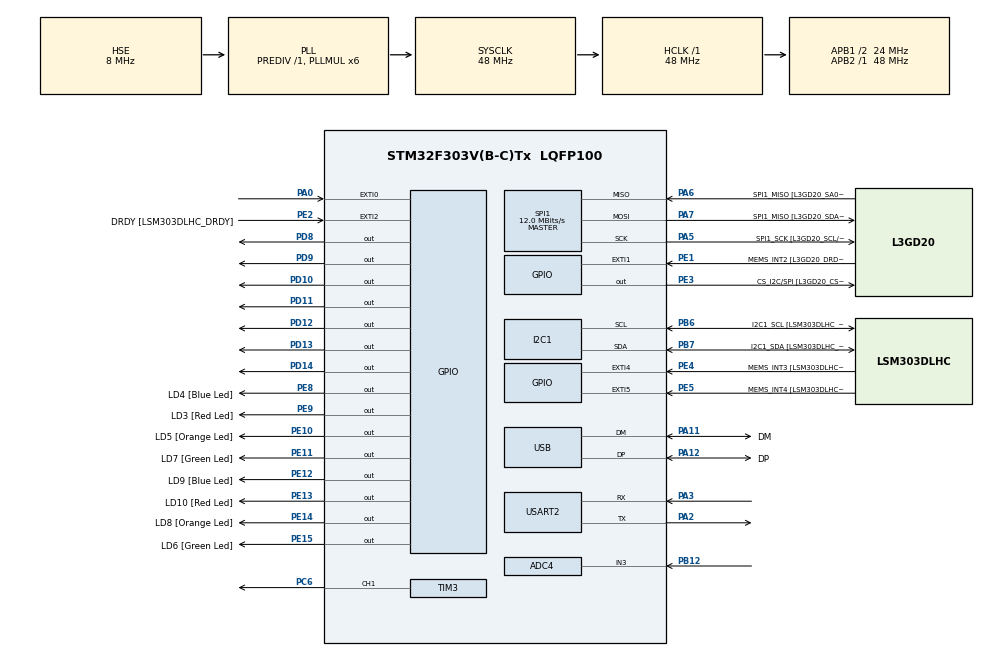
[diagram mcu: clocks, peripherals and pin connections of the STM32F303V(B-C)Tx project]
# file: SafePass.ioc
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ADC4.Channel-0\#ChannelRegularConversion=ADC_CHANNEL_3
ADC4.NbrOfConversionFlag=1
ADC4.Offset-0\#ChannelRegularConversion=0
ADC4.OffsetNumber-0\#ChannelRegularConversion=ADC_OFFSET_NONE
ADC4.Rank-0\#ChannelRegularConversion=1
ADC4.SamplingTime-0\#ChannelRegularConversion=ADC_SAMPLETIME_181CYCLES_5
ADC4.SamplingTimeOPAMP-0\#ChannelRegularConversion=ADC_SAMPLETIME_19CYCLES_5
I2C1.Timing=0x2000090E
I2C1.Timing-I2C=0x2000090E
Mcu.Family=STM32F3
Mcu.Name=STM32F303V(B-C)Tx
Mcu.Package=LQFP100
NVIC.ADC4_IRQn=true\:1\:0\:true\:false\:true\:true\:true\:true
NVIC.EXTI0_IRQn=true\:3\:0\:true\:false\:true\:true\:true\:true
NVIC.PriorityGroup=NVIC_PRIORITYGROUP_2
NVIC.TIM2_IRQn=true\:2\:0\:true\:false\:true\:true\:true\:true
PA0.GPIO_ModeDefaultEXTI=GPIO_MODE_IT_FALLING
PA0.GPIO_PuPd=GPIO_PULLDOWN
PA0.Signal=GPXTI0
PA11.GPIO_Label=DM
PA11.Mode=Device
PA11.Signal=USB_DM
PA12.GPIO_Label=DP
PA12.Mode=Device
PA12.Signal=USB_DP
PA13.GPIO_Label=SWDIO
PA13.Mode=Serial_Wire
PA13.Signal=SYS_JTMS-SWDIO
PA14.GPIO_Label=SWCLK
PA14.Mode=Serial_Wire
PA14.Signal=SYS_JTCK-SWCLK
PA2.Mode=Asynchronous
PA2.Signal=USART2_TX
PA3.Mode=Asynchronous
PA3.Signal=USART2_RX
PA5.GPIO_Label=SPI1_SCK [L3GD20_SCL/SPC]
PA5.Mode=Full_Duplex_Master
PA5.Signal=SPI1_SCK
PA6.GPIO_Label=SPI1_MISO [L3GD20_SA0/SDO]
PA6.Mode=Full_Duplex_Master
PA6.Signal=SPI1_MISO
PA7.GPIO_Label=SPI1_MISO [L3GD20_SDA/SDI/SDO]
PA7.Mode=Full_Duplex_Master
PA7.Signal=SPI1_MOSI
PB12.Mode=IN3-Single-Ended
PB12.Signal=ADC4_IN3
PB3.GPIO_Label=SWO
PB3.Signal=SYS_JTDO-TRACESWO
PB6.GPIO_Label=I2C1_SCL [LSM303DLHC_SCL]
PB6.GPIO_Pu=GPIO_PULLUP
PB6.Mode=I2C
PB6.Signal=I2C1_SCL
PB7.GPIO_Label=I2C1_SDA [LSM303DLHC_SDA]
PB7.GPIO_Pu=GPIO_PULLUP
PB7.Mode=I2C
PB7.Signal=I2C1_SDA
PC14-OSC32_IN.GPIO_Label=OSC32_IN
PC14-OSC32_IN.Signal=RCC_OSC32_IN
PC15-OSC32_OUT.GPIO_Label=OSC32_OUT
PC15-OSC32_OUT.Signal=RCC_OSC32_OUT
PC6.Signal=S_TIM3_CH1
PD10.Signal=GPIO_Output
PD11.Signal=GPIO_Output
PD12.Signal=GPIO_Output
PD13.Signal=GPIO_Output
PD14.Signal=GPIO_Output
PD8.Signal=GPIO_Output
PD9.Signal=GPIO_Output
PE1.GPIO_Label=MEMS_INT2 [L3GD20_DRDY/INT2]
PE1.GPIO_ModeDefaultEXTI=GPIO_MODE_EVT_RISING
PE1.Signal=GPXTI1
PE10.GPIO_Label=LD5 [Orange Led]
PE10.Signal=GPIO_Output
PE11.GPIO_Label=LD7 [Green Led]
PE11.Signal=GPIO_Output
PE12.GPIO_Label=LD9 [Blue Led]
PE12.Signal=GPIO_Output
PE13.GPIO_Label=LD10 [Red Led]
PE13.Signal=GPIO_Output
PE14.GPIO_Label=LD8 [Orange Led]
PE14.Signal=GPIO_Output
PE15.GPIO_Label=LD6 [Green Led]
PE15.Signal=GPIO_Output
PE2.GPIO_Label=DRDY [LSM303DLHC_DRDY]
PE2.GPIO_ModeDefaultEXTI=GPIO_MODE_EVT_RISING
PE2.Signal=GPXTI2
PE3.GPIO_Label=CS_I2C/SPI [L3GD20_CS_I2C/SPI]
PE3.Signal=GPIO_Output
PE4.GPIO_Label=MEMS_INT3 [LSM303DLHC_INT1]
PE4.GPIO_ModeDefaultEXTI=GPIO_MODE_EVT_RISING
PE4.Signal=GPXTI4
PE5.GPIO_Label=MEMS_INT4 [LSM303DLHC_INT2]
PE5.GPIO_ModeDefaultEXTI=GPIO_MODE_EVT_RISING
PE5.Signal=GPXTI5
PE8.GPIO_Label=LD4 [Blue Led]
PE8.Signal=GPIO_Output
PE9.GPIO_Label=LD3 [Red Led]
PE9.Signal=GPIO_Output
PF0-OSC_IN.GPIO_Label=OSC_IN
PF0-OSC_IN.Mode=HSE-External-Clock-Source
PF0-OSC_IN.Signal=RCC_OSC_IN
PF1-OSC_OUT.GPIO_Label=OSC_OUT
PF1-OSC_OUT.Signal=RCC_OSC_OUT
ProjectManager.HeapSize=0x200
ProjectManager.StackSize=0x400
ProjectManager.TargetToolchain=STM32CubeIDE
RCC.AHBFreq_Value=48000000
RCC.APB1CLKDivider=RCC_HCLK_DIV2
RCC.APB1Freq_Value=24000000
RCC.APB1TimFreq_Value=48000000
RCC.APB2Freq_Value=48000000
RCC.APB2TimFreq_Value=48000000
RCC.CortexFreq_Value=48000000
RCC.HCLKFreq_Value=48000000
RCC.HSE_VALUE=8000000
RCC.HSI_VALUE=8000000
RCC.LSE_VALUE=32768
RCC.PLLMUL=RCC_PLL_MUL6
RCC.SYSCLKFreq_VALUE=48000000
RCC.SYSCLKSourceVirtual=RCC_SYSCLKSOURCE_PLLCLK
RCC.USBFreq_Value=48000000
SH.S_TIM3_CH1.0=TIM3_CH1,PWM Generation1 CH1
SPI1.BaudRatePrescaler=SPI_BAUDRATEPRESCALER_4
SPI1.BaudRatePrescaler-Full_Duplex_Master=SPI_BAUDRATEPRESCALER_2
SPI1.CalculateBaudRate=12.0 MBits/s
SPI1.CalculateBaudRate-Full_Duplex_Master=24.0 MBits/s
SPI1.Direction=SPI_DIRECTION_2LINES
SPI1.Mode=SPI_MODE_MASTER
SPI1.Mode-Full_Duplex_Master=SPI_MODE_MASTER
SPI1.VirtualType=VM_MASTER
TIM2.Period=47999
TIM2.Prescaler=999
TIM3.Channel-PWM\ Generation1\ CH1=TIM_CHANNEL_1
USART2.VirtualMode-Asynchronous=VM_ASYNC
VP_TIM2_VS_ClockSourceINT.Mode=Internal
VP_TIM3_VS_ClockSourceINT.Mode=Internal
board=STM32F3DISCOVERY

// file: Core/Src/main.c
/* USER CODE BEGIN Header */
/**
  ******************************************************************************
  * @file           : main.c
  * @brief          : Main program body
  ******************************************************************************
  * @attention
  *
  * Copyright (c) 2022 STMicroelectronics.
  * All rights reserved.
  *
  * This software is licensed under terms that can be found in the LICENSE file
  * in the root directory of this software component.
  * If no LICENSE file comes with this software, it is provided AS-IS.
  *
  ******************************************************************************
  */
/* USER CODE END Header */
#include "main.h"

/* USER CODE BEGIN Includes */
#include "LiquidCrystal.h"
/* USER CODE END Includes */

/* USER CODE BEGIN PTD */
typedef unsigned char byte;
/* USER CODE END PTD */

ADC_HandleTypeDef hadc4;

I2C_HandleTypeDef hi2c1;

SPI_HandleTypeDef hspi1;

TIM_HandleTypeDef htim2;
TIM_HandleTypeDef htim3;

UART_HandleTypeDef huart2;

PCD_HandleTypeDef hpcd_USB_FS;

void SystemClock_Config(void);
static void MX_GPIO_Init(void);
static void MX_I2C1_Init(void);
static void MX_SPI1_Init(void);
static void MX_USB_PCD_Init(void);
static void MX_ADC4_Init(void);
static void MX_USART2_UART_Init(void);
static void MX_TIM2_Init(void);
static void MX_TIM3_Init(void);

/* USER CODE BEGIN 0 */
byte customChar[] = {
  0x04,
  0x04,
  0x14,
  0x04,
  0x04,
  0x14,
  0x04,
  0x04
};

Page page = firstPage;
PageData pData;
CorrectPassword correctPassword;
TIM_HandleTypeDef *buzzerPwmTimer = &htim3;
int buzzerPwmChannel = TIM_CHANNEL_1;

void buzzerChangeTone(uint16_t freq, uint16_t volume) {

	if (freq == 0 || freq > 20000) {
		__HAL_TIM_SET_COMPARE(buzzerPwmTimer, buzzerPwmChannel, 0);
	} else {
		const uint32_t internalClockFreq = HAL_RCC_GetSysClockFreq();
		const uint32_t prescaler = 1 + internalClockFreq / freq / 60000;
		const uint32_t timerClock = internalClockFreq / prescaler;
		const uint32_t periodCycles = timerClock / freq;
		const uint32_t pulseWidth = volume * periodCycles / 1000 / 2;

		buzzerPwmTimer->Instance->PSC = prescaler - 1;
		buzzerPwmTimer->Instance->ARR = periodCycles - 1;
		buzzerPwmTimer->Instance->EGR = TIM_EGR_UG;

		__HAL_TIM_SET_COMPARE(buzzerPwmTimer, buzzerPwmChannel, pulseWidth);
	}
}

bool is_on_password_page() {
	if(page == secondPage) {
		return true;
	}
	return false;
}

void init_Data() {
	PageData p = {"", false, 0, -1, -1, -1, -1};
	CorrectPassword c = {10, 70, 30, 40};
	correctPassword = c;
	pData = p;
}

void show_first_page(){
	setCursor(6, 0);
	print("Welcome");
	setCursor(2, 1);
	print("Press Blue Button");
	setCursor(6, 2);
	print("To Start");
}

void show_safe_page() {
	setCursor(2, 0);
	print("No Shit In Safe");
}

void show_pass_page() {

	if(pData.wrong_pass == true) {
		setCursor(0, 0);
		print("Enter Password Again");
	} else {
		setCursor(3, 0);
		print("Enter Password");
	}

	setCursor(0, 1);
	print("Deg:");

	char num_vol[3] = "";
	itoa(pData.volume, num_vol, 10);

	setCursor(4, 1);
	print("   ");
	setCursor(4, 1);
	print(num_vol);

	setCursor(3, 2);
	print("        ");

	if (pData.first_digit != -1) {
		setCursor(3, 2);
		print("  ");
		char num[3] = "";
		itoa(pData.first_digit, num, 10);
		setCursor(3, 2);
		print(num);
	}
	if (pData.second_digit != -1) {
		setCursor(5, 2);
		print("  ");
		char num[3] = "";
		itoa(pData.second_digit, num, 10);
		setCursor(5, 2);
		print(num);
	}
	if (pData.third_digit != -1) {
		setCursor(7, 2);
		print("  ");
		char num[3] = "";
		itoa(pData.third_digit, num, 10);
		setCursor(7, 2);
		print(num);
	}
	if (pData.fourth_digit != -1) {
		setCursor(9, 2);
		print("  ");
		char num[3] = "";
		itoa(pData.fourth_digit, num, 10);
		setCursor(9, 2);
		print(num);
	}
}

void display_page() {

	switch(page) {
	case firstPage:
		show_first_page();
		break;
	case secondPage:
		show_pass_page();
		break;
	case thirdPage:
		show_safe_page();
		break;
	}
}

void change_page() {
	page += 1;
}

void set_volume(int volume) {
	pData.volume = volume;
}

void apply_volume() {
	if (pData.first_digit == -1) {
		pData.first_digit = pData.volume;
	}
	else if (pData.second_digit == -1) {
		pData.second_digit = pData.volume;
	}
	else if (pData.third_digit == -1) {
		pData.third_digit = pData.volume;
	}
	else if (pData.fourth_digit == -1) {
		pData.fourth_digit = pData.volume;
	}
}

bool is_password_choosed() {
	if((pData.first_digit != -1) && (pData.second_digit != -1) && (pData.third_digit != -1) && (pData.fourth_digit != -1)) {
		return true;
	} else {
		return false;
	}
}

void validate_password() {
	if(
			correctPassword.first_digit == pData.first_digit &&
			correctPassword.second_digit == pData.second_digit &&
			correctPassword.third_digit == pData.third_digit &&
			correctPassword.fourth_digit == pData.fourth_digit
	) {
		clear();
		change_page();
		display_page();
	} else {
		int last_volume = pData.volume;
		init_Data();
		pData.volume = last_volume;
		pData.wrong_pass = true;
		display_page();
		buzzerChangeTone(2000, 50);
		HAL_Delay(300);
		buzzerChangeTone(0, 0);
		setCursor(5, 3);
		write(0);
		write(0);
		write(0);
	}
}

/* USER CODE END 0 */

int main(void)
{

  /* MCU Configuration--------------------------------------------------------*/

  /* Reset of all peripherals, Initializes the Flash interface and the Systick. */
  HAL_Init();

  /* Configure the system clock */
  SystemClock_Config();

  /* Initialize all configured peripherals */
  MX_GPIO_Init();
  MX_I2C1_Init();
  MX_SPI1_Init();
  MX_USB_PCD_Init();
  MX_ADC4_Init();
  MX_USART2_UART_Init();
  MX_TIM2_Init();
  MX_TIM3_Init();
  /* USER CODE BEGIN 2 */
//  HAL_TIM_Base_Start_IT(&htim2);
  HAL_TIM_PWM_Start(&htim3, TIM_CHANNEL_1);
  HAL_ADC_Start_IT(&hadc4);
  LiquidCrystal(GPIOD, GPIO_PIN_8, GPIO_PIN_9, GPIO_PIN_10, GPIO_PIN_11, GPIO_PIN_12, GPIO_PIN_13, GPIO_PIN_14);
  init_Data();
  begin(20, 4);
  clear();
  display_page();
  createChar(0, customChar);

  /* USER CODE END 2 */

  /* Infinite loop */
  while (1)
  {

  }
}

void SystemClock_Config(void)
{
  RCC_OscInitTypeDef RCC_OscInitStruct = {0};
  RCC_ClkInitTypeDef RCC_ClkInitStruct = {0};
  RCC_PeriphCLKInitTypeDef PeriphClkInit = {0};

  /** Initializes the RCC Oscillators according to the specified parameters
  * in the RCC_OscInitTypeDef structure.
  */
  RCC_OscInitStruct.OscillatorType = RCC_OSCILLATORTYPE_HSI|RCC_OSCILLATORTYPE_HSE;
  RCC_OscInitStruct.HSEState = RCC_HSE_BYPASS;
  RCC_OscInitStruct.HSEPredivValue = RCC_HSE_PREDIV_DIV1;
  RCC_OscInitStruct.HSIState = RCC_HSI_ON;
  RCC_OscInitStruct.HSICalibrationValue = RCC_HSICALIBRATION_DEFAULT;
  RCC_OscInitStruct.PLL.PLLState = RCC_PLL_ON;
  RCC_OscInitStruct.PLL.PLLSource = RCC_PLLSOURCE_HSE;
  RCC_OscInitStruct.PLL.PLLMUL = RCC_PLL_MUL6;
  if (HAL_RCC_OscConfig(&RCC_OscInitStruct) != HAL_OK)
  {
    Error_Handler();
  }

  /** Initializes the CPU, AHB and APB buses clocks
  */
  RCC_ClkInitStruct.ClockType = RCC_CLOCKTYPE_HCLK|RCC_CLOCKTYPE_SYSCLK
                              |RCC_CLOCKTYPE_PCLK1|RCC_CLOCKTYPE_PCLK2;
  RCC_ClkInitStruct.SYSCLKSource = RCC_SYSCLKSOURCE_PLLCLK;
  RCC_ClkInitStruct.AHBCLKDivider = RCC_SYSCLK_DIV1;
  RCC_ClkInitStruct.APB1CLKDivider = RCC_HCLK_DIV2;
  RCC_ClkInitStruct.APB2CLKDivider = RCC_HCLK_DIV1;

  if (HAL_RCC_ClockConfig(&RCC_ClkInitStruct, FLASH_LATENCY_1) != HAL_OK)
  {
    Error_Handler();
  }
  PeriphClkInit.PeriphClockSelection = RCC_PERIPHCLK_USB|RCC_PERIPHCLK_USART2
                              |RCC_PERIPHCLK_I2C1|RCC_PERIPHCLK_ADC34;
  PeriphClkInit.Usart2ClockSelection = RCC_USART2CLKSOURCE_PCLK1;
  PeriphClkInit.Adc34ClockSelection = RCC_ADC34PLLCLK_DIV1;
  PeriphClkInit.I2c1ClockSelection = RCC_I2C1CLKSOURCE_HSI;
  PeriphClkInit.USBClockSelection = RCC_USBCLKSOURCE_PLL;
  if (HAL_RCCEx_PeriphCLKConfig(&PeriphClkInit) != HAL_OK)
  {
    Error_Handler();
  }
}

static void MX_ADC4_Init(void)
{

  ADC_ChannelConfTypeDef sConfig = {0};

  /** Common config
  */
  hadc4.Instance = ADC4;
  hadc4.Init.ClockPrescaler = ADC_CLOCK_ASYNC_DIV1;
  hadc4.Init.Resolution = ADC_RESOLUTION_12B;
  hadc4.Init.ScanConvMode = ADC_SCAN_DISABLE;
  hadc4.Init.ContinuousConvMode = DISABLE;
  hadc4.Init.DiscontinuousConvMode = DISABLE;
  hadc4.Init.ExternalTrigConvEdge = ADC_EXTERNALTRIGCONVEDGE_NONE;
  hadc4.Init.ExternalTrigConv = ADC_SOFTWARE_START;
  hadc4.Init.DataAlign = ADC_DATAALIGN_RIGHT;
  hadc4.Init.NbrOfConversion = 1;
  hadc4.Init.DMAContinuousRequests = DISABLE;
  hadc4.Init.EOCSelection = ADC_EOC_SINGLE_CONV;
  hadc4.Init.LowPowerAutoWait = DISABLE;
  hadc4.Init.Overrun = ADC_OVR_DATA_OVERWRITTEN;
  if (HAL_ADC_Init(&hadc4) != HAL_OK)
  {
    Error_Handler();
  }

  /** Configure Regular Channel
  */
  sConfig.Channel = ADC_CHANNEL_3;
  sConfig.Rank = ADC_REGULAR_RANK_1;
  sConfig.SingleDiff = ADC_SINGLE_ENDED;
  sConfig.SamplingTime = ADC_SAMPLETIME_181CYCLES_5;
  sConfig.OffsetNumber = ADC_OFFSET_NONE;
  sConfig.Offset = 0;
  if (HAL_ADC_ConfigChannel(&hadc4, &sConfig) != HAL_OK)
  {
    Error_Handler();
  }

}

static void MX_I2C1_Init(void)
{

  hi2c1.Instance = I2C1;
  hi2c1.Init.Timing = 0x2000090E;
  hi2c1.Init.OwnAddress1 = 0;
  hi2c1.Init.AddressingMode = I2C_ADDRESSINGMODE_7BIT;
  hi2c1.Init.DualAddressMode = I2C_DUALADDRESS_DISABLE;
  hi2c1.Init.OwnAddress2 = 0;
  hi2c1.Init.OwnAddress2Masks = I2C_OA2_NOMASK;
  hi2c1.Init.GeneralCallMode = I2C_GENERALCALL_DISABLE;
  hi2c1.Init.NoStretchMode = I2C_NOSTRETCH_DISABLE;
  if (HAL_I2C_Init(&hi2c1) != HAL_OK)
  {
    Error_Handler();
  }

  /** Configure Analogue filter
  */
  if (HAL_I2CEx_ConfigAnalogFilter(&hi2c1, I2C_ANALOGFILTER_ENABLE) != HAL_OK)
  {
    Error_Handler();
  }

  /** Configure Digital filter
  */
  if (HAL_I2CEx_ConfigDigitalFilter(&hi2c1, 0) != HAL_OK)
  {
    Error_Handler();
  }

}

static void MX_SPI1_Init(void)
{

  /* SPI1 parameter configuration*/
  hspi1.Instance = SPI1;
  hspi1.Init.Mode = SPI_MODE_MASTER;
  hspi1.Init.Direction = SPI_DIRECTION_2LINES;
  hspi1.Init.DataSize = SPI_DATASIZE_4BIT;
  hspi1.Init.CLKPolarity = SPI_POLARITY_LOW;
  hspi1.Init.CLKPhase = SPI_PHASE_1EDGE;
  hspi1.Init.NSS = SPI_NSS_SOFT;
  hspi1.Init.BaudRatePrescaler = SPI_BAUDRATEPRESCALER_4;
  hspi1.Init.FirstBit = SPI_FIRSTBIT_MSB;
  hspi1.Init.TIMode = SPI_TIMODE_DISABLE;
  hspi1.Init.CRCCalculation = SPI_CRCCALCULATION_DISABLE;
  hspi1.Init.CRCPolynomial = 7;
  hspi1.Init.CRCLength = SPI_CRC_LENGTH_DATASIZE;
  hspi1.Init.NSSPMode = SPI_NSS_PULSE_ENABLE;
  if (HAL_SPI_Init(&hspi1) != HAL_OK)
  {
    Error_Handler();
  }

}

static void MX_TIM2_Init(void)
{

  TIM_ClockConfigTypeDef sClockSourceConfig = {0};
  TIM_MasterConfigTypeDef sMasterConfig = {0};

  htim2.Instance = TIM2;
  htim2.Init.Prescaler = 999;
  htim2.Init.CounterMode = TIM_COUNTERMODE_UP;
  htim2.Init.Period = 47999;
  htim2.Init.ClockDivision = TIM_CLOCKDIVISION_DIV1;
  htim2.Init.AutoReloadPreload = TIM_AUTORELOAD_PRELOAD_DISABLE;
  if (HAL_TIM_Base_Init(&htim2) != HAL_OK)
  {
    Error_Handler();
  }
  sClockSourceConfig.ClockSource = TIM_CLOCKSOURCE_INTERNAL;
  if (HAL_TIM_ConfigClockSource(&htim2, &sClockSourceConfig) != HAL_OK)
  {
    Error_Handler();
  }
  sMasterConfig.MasterOutputTrigger = TIM_TRGO_RESET;
  sMasterConfig.MasterSlaveMode = TIM_MASTERSLAVEMODE_DISABLE;
  if (HAL_TIMEx_MasterConfigSynchronization(&htim2, &sMasterConfig) != HAL_OK)
  {
    Error_Handler();
  }

}

static void MX_TIM3_Init(void)
{

  TIM_ClockConfigTypeDef sClockSourceConfig = {0};
  TIM_MasterConfigTypeDef sMasterConfig = {0};
  TIM_OC_InitTypeDef sConfigOC = {0};

  htim3.Instance = TIM3;
  htim3.Init.Prescaler = 0;
  htim3.Init.CounterMode = TIM_COUNTERMODE_UP;
  htim3.Init.Period = 65535;
  htim3.Init.ClockDivision = TIM_CLOCKDIVISION_DIV1;
  htim3.Init.AutoReloadPreload = TIM_AUTORELOAD_PRELOAD_DISABLE;
  if (HAL_TIM_Base_Init(&htim3) != HAL_OK)
  {
    Error_Handler();
  }
  sClockSourceConfig.ClockSource = TIM_CLOCKSOURCE_INTERNAL;
  if (HAL_TIM_ConfigClockSource(&htim3, &sClockSourceConfig) != HAL_OK)
  {
    Error_Handler();
  }
  if (HAL_TIM_PWM_Init(&htim3) != HAL_OK)
  {
    Error_Handler();
  }
  sMasterConfig.MasterOutputTrigger = TIM_TRGO_RESET;
  sMasterConfig.MasterSlaveMode = TIM_MASTERSLAVEMODE_DISABLE;
  if (HAL_TIMEx_MasterConfigSynchronization(&htim3, &sMasterConfig) != HAL_OK)
  {
    Error_Handler();
  }
  sConfigOC.OCMode = TIM_OCMODE_PWM1;
  sConfigOC.Pulse = 0;
  sConfigOC.OCPolarity = TIM_OCPOLARITY_HIGH;
  sConfigOC.OCFastMode = TIM_OCFAST_DISABLE;
  if (HAL_TIM_PWM_ConfigChannel(&htim3, &sConfigOC, TIM_CHANNEL_1) != HAL_OK)
  {
    Error_Handler();
  }
  HAL_TIM_MspPostInit(&htim3);

}

static void MX_USART2_UART_Init(void)
{

  huart2.Instance = USART2;
  huart2.Init.BaudRate = 38400;
  huart2.Init.WordLength = UART_WORDLENGTH_8B;
  huart2.Init.StopBits = UART_STOPBITS_1;
  huart2.Init.Parity = UART_PARITY_NONE;
  huart2.Init.Mode = UART_MODE_TX_RX;
  huart2.Init.HwFlowCtl = UART_HWCONTROL_NONE;
  huart2.Init.OverSampling = UART_OVERSAMPLING_16;
  huart2.Init.OneBitSampling = UART_ONE_BIT_SAMPLE_DISABLE;
  huart2.AdvancedInit.AdvFeatureInit = UART_ADVFEATURE_NO_INIT;
  if (HAL_UART_Init(&huart2) != HAL_OK)
  {
    Error_Handler();
  }

}

static void MX_USB_PCD_Init(void)
{

  hpcd_USB_FS.Instance = USB;
  hpcd_USB_FS.Init.dev_endpoints = 8;
  hpcd_USB_FS.Init.speed = PCD_SPEED_FULL;
  hpcd_USB_FS.Init.phy_itface = PCD_PHY_EMBEDDED;
  hpcd_USB_FS.Init.low_power_enable = DISABLE;
  hpcd_USB_FS.Init.battery_charging_enable = DISABLE;
  if (HAL_PCD_Init(&hpcd_USB_FS) != HAL_OK)
  {
    Error_Handler();
  }

}

static void MX_GPIO_Init(void)
{
  GPIO_InitTypeDef GPIO_InitStruct = {0};

  /* GPIO Ports Clock Enable */
  __HAL_RCC_GPIOE_CLK_ENABLE();
  __HAL_RCC_GPIOC_CLK_ENABLE();
  __HAL_RCC_GPIOF_CLK_ENABLE();
  __HAL_RCC_GPIOA_CLK_ENABLE();
  __HAL_RCC_GPIOB_CLK_ENABLE();
  __HAL_RCC_GPIOD_CLK_ENABLE();

  /*Configure GPIO pin Output Level */
  HAL_GPIO_WritePin(GPIOE, CS_I2C_SPI_Pin|LD4_Pin|LD3_Pin|LD5_Pin
                          |LD7_Pin|LD9_Pin|LD10_Pin|LD8_Pin
                          |LD6_Pin, GPIO_PIN_RESET);

  /*Configure GPIO pin Output Level */
  HAL_GPIO_WritePin(GPIOD, GPIO_PIN_8|GPIO_PIN_9|GPIO_PIN_10|GPIO_PIN_11
                          |GPIO_PIN_12|GPIO_PIN_13|GPIO_PIN_14, GPIO_PIN_RESET);

  /*Configure GPIO pins : DRDY_Pin MEMS_INT3_Pin MEMS_INT4_Pin MEMS_INT2_Pin */
  GPIO_InitStruct.Pin = DRDY_Pin|MEMS_INT3_Pin|MEMS_INT4_Pin|MEMS_INT2_Pin;
  GPIO_InitStruct.Mode = GPIO_MODE_EVT_RISING;
  GPIO_InitStruct.Pull = GPIO_NOPULL;
  HAL_GPIO_Init(GPIOE, &GPIO_InitStruct);

  /*Configure GPIO pins : CS_I2C_SPI_Pin LD4_Pin LD3_Pin LD5_Pin
                           LD7_Pin LD9_Pin LD10_Pin LD8_Pin
                           LD6_Pin */
  GPIO_InitStruct.Pin = CS_I2C_SPI_Pin|LD4_Pin|LD3_Pin|LD5_Pin
                          |LD7_Pin|LD9_Pin|LD10_Pin|LD8_Pin
                          |LD6_Pin;
  GPIO_InitStruct.Mode = GPIO_MODE_OUTPUT_PP;
  GPIO_InitStruct.Pull = GPIO_NOPULL;
  GPIO_InitStruct.Speed = GPIO_SPEED_FREQ_LOW;
  HAL_GPIO_Init(GPIOE, &GPIO_InitStruct);

  /*Configure GPIO pin : PA0 */
  GPIO_InitStruct.Pin = GPIO_PIN_0;
  GPIO_InitStruct.Mode = GPIO_MODE_IT_FALLING;
  GPIO_InitStruct.Pull = GPIO_PULLDOWN;
  HAL_GPIO_Init(GPIOA, &GPIO_InitStruct);

  /*Configure GPIO pins : PD8 PD9 PD10 PD11
                           PD12 PD13 PD14 */
  GPIO_InitStruct.Pin = GPIO_PIN_8|GPIO_PIN_9|GPIO_PIN_10|GPIO_PIN_11
                          |GPIO_PIN_12|GPIO_PIN_13|GPIO_PIN_14;
  GPIO_InitStruct.Mode = GPIO_MODE_OUTPUT_PP;
  GPIO_InitStruct.Pull = GPIO_NOPULL;
  GPIO_InitStruct.Speed = GPIO_SPEED_FREQ_LOW;
  HAL_GPIO_Init(GPIOD, &GPIO_InitStruct);

  /* EXTI interrupt init*/
  HAL_NVIC_SetPriority(EXTI0_IRQn, 3, 0);
  HAL_NVIC_EnableIRQ(EXTI0_IRQn);

}

void Error_Handler(void)
{
  __disable_irq();
  while (1)
  {
  }
}
